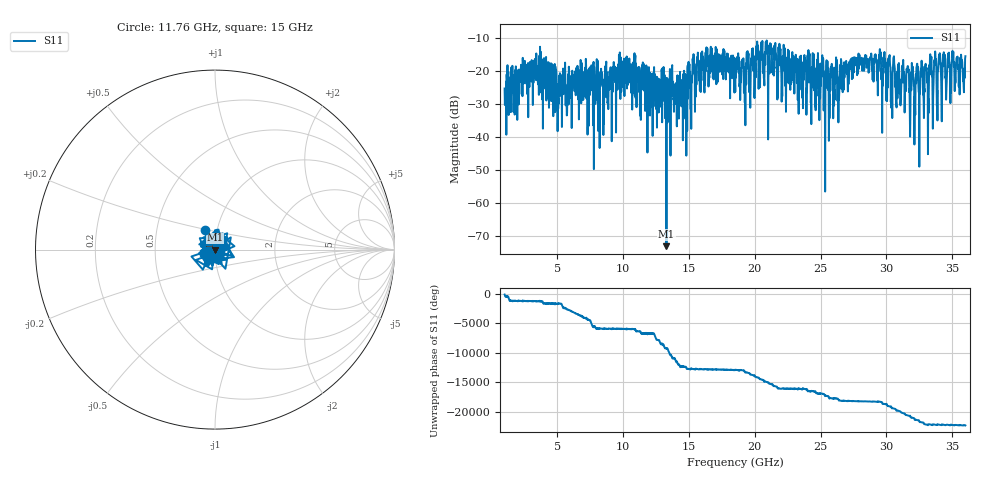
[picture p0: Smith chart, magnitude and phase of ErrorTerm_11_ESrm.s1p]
!  1-Port S-parameters saved by WinCal
! VAR NAME=Unknown labuser
! VAR Error Term Name=ESrm phys rcv port 1 phys src port 1
# Hz S RI R 50
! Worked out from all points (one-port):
!   1601 points, 1 GHz to 36 GHz, reference 50 ohm
!   lowest |S11| = -73.2 dB at 13.29 GHz (marker M1), VSWR 1.00, Z = 50 + j0.0161 ohm
!   |S11| at or under -10 dB: start of sweep to end of sweep
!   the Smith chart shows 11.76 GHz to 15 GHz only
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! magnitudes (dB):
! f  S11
! 1 GHz  -25.4
! 3.581 GHz  -20.9
! 4.938 GHz  -22.3
! 5.375 GHz  -22.5
! 7.3 GHz  -39.4
! 7.584 GHz  -18.4
! 8.372 GHz  -21.5
! 9.75 GHz  -14.5
! 11.65 GHz  -23.5
! 12.03 GHz  -20.5
! 13.1 GHz  -22.3
! 13.12 GHz  -25.0
! 13.29 GHz  -73.2
! 13.62 GHz  -26.0
! 14.12 GHz  -21.4
! 16.49 GHz  -24.8
! 18.5 GHz  -22.6
! 19.13 GHz  -16.2
! 20.82 GHz  -12.8
! 22.88 GHz  -21.8
! 25.15 GHz  -19.4
! 25.52 GHz  -17.1
! 27.25 GHz  -17.5
! 29.09 GHz  -17.8
! 31.62 GHz  -18.6
! 32.67 GHz  -17.0
! 33.88 GHz  -35.1
! 36 GHz  -15.6
